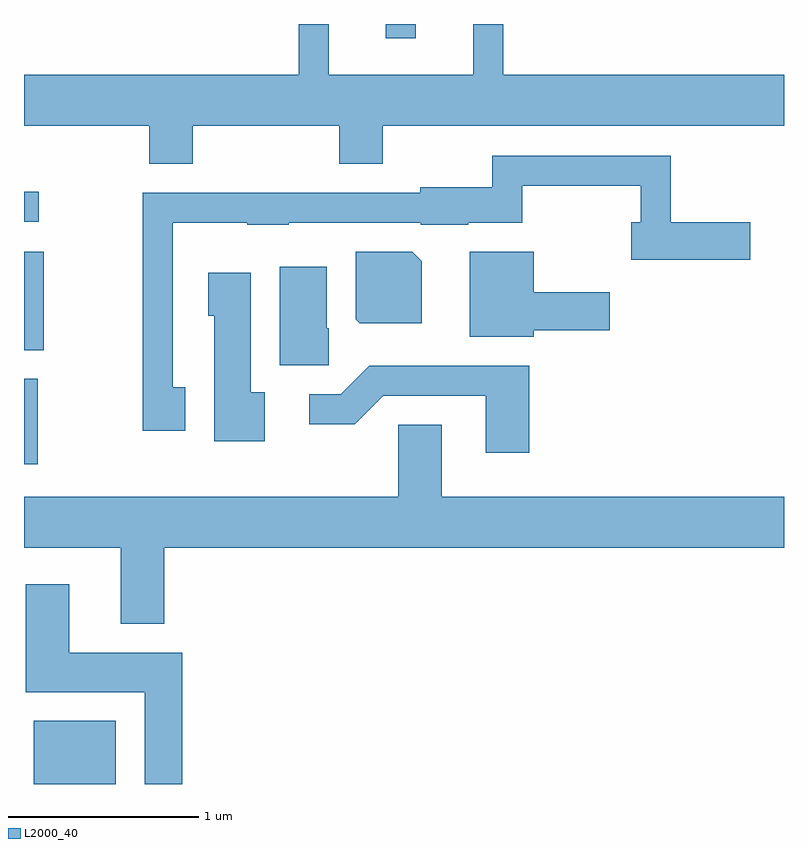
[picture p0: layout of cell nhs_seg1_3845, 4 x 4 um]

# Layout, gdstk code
import gdstk
lib = gdstk.Library(unit=1e-6, precision=1e-09)
def R(c, l, rs):  # rectangles x0, y0, x1, y1
    for r in rs: c.add(gdstk.rectangle(r[:2], r[2:], *l))
def P(c, l, *ps):  # polygons
    for p in ps: c.add(gdstk.Polygon(p, *l))
L2000_40 = (2000, 40)

nhs_seg1_3845 = lib.new_cell('nhs_seg1_3845')
R(nhs_seg1_3845, L2000_40, [(301.661,851.712,302.094,852.044), (301.611,853.396,301.684,853.844), (301.611,853.996,301.714,854.514), (301.611,854.671,301.688,854.829), (303.516,855.638,303.674,855.712)])
P(nhs_seg1_3845, L2000_40, [(302.499,855.176),(303.271,855.176),(303.271,854.976),(303.499,854.976),(303.499,855.176),(305.611,855.176),(305.611,855.444),(304.134,855.444),(304.134,855.712),(303.976,855.712),(303.976,855.444),(303.214,855.444),(303.214,855.712),(303.056,855.712),(303.056,855.444),(301.611,855.444),(301.611,855.176),(302.271,855.176),(302.271,854.976),(302.499,854.976)],
  [(302.459,853.799),(302.394,853.799),(302.394,854.666),(302.785,854.666),(302.785,854.656),(303.005,854.656),(303.005,854.666),(303.7,854.666),(303.7,854.656),(303.95,854.656),(303.95,854.666),(304.234,854.666),(304.234,854.861),(304.856,854.861),(304.856,854.669),(304.806,854.669),(304.806,854.471),(305.434,854.471),(305.434,854.669),(305.014,854.669),(305.014,855.019),(304.076,855.019),(304.076,854.854),(303.696,854.854),(303.696,854.824),(302.236,854.824),(302.236,853.571),(302.459,853.571)],
  [(303.704,854.464),(303.654,854.514),(303.356,854.514),(303.356,854.157),(303.377,854.136),(303.704,854.136)],
  [(304.294,854.101),(304.694,854.101),(304.694,854.299),(304.294,854.299),(304.294,854.514),(303.956,854.514),(303.956,854.066),(304.294,854.066)],
  [(303.214,854.11),(303.204,854.11),(303.204,854.434),(302.956,854.434),(302.956,853.916),(303.214,853.916)],
  [(302.879,853.774),(302.804,853.774),(302.804,854.404),(302.581,854.404),(302.581,854.176),(302.611,854.176),(302.611,853.516),(302.879,853.516)],
  [(304.269,853.914),(303.429,853.914),(303.279,853.764),(303.113,853.764),(303.113,853.606),(303.352,853.606),(303.502,853.756),(304.041,853.756),(304.041,853.456),(304.269,853.456)],
  [(302.349,852.956),(305.611,852.956),(305.611,853.224),(303.809,853.224),(303.809,853.604),(303.581,853.604),(303.581,853.224),(301.611,853.224),(301.611,852.956),(302.121,852.956),(302.121,852.556),(302.349,852.556)],
  [(302.444,852.404),(301.849,852.404),(301.849,852.764),(301.621,852.764),(301.621,852.196),(302.246,852.196),(302.246,851.712),(302.444,851.712)])

lib.write_gds('nhs_seg1_3845.gds')
